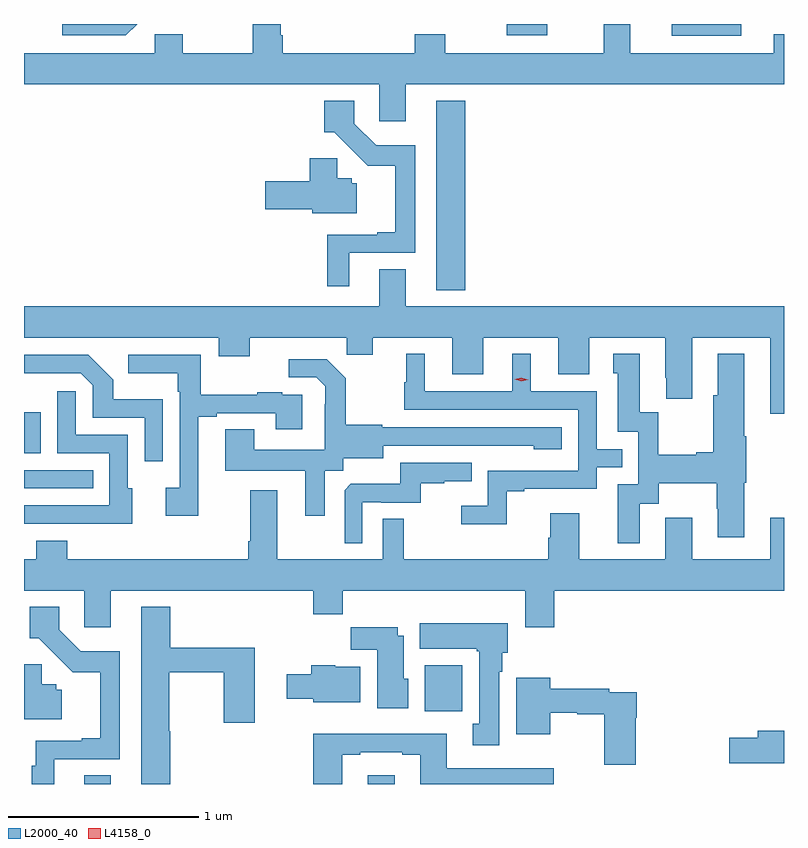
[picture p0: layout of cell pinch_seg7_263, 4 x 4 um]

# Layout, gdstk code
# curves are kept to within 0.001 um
import gdstk
lib = gdstk.Library(unit=1e-6, precision=1e-09)
def R(c, l, rs):  # rectangles x0, y0, x1, y1
    for r in rs: c.add(gdstk.rectangle(r[:2], r[2:], *l))
def P(c, l, *ps):  # polygons
    for p in ps: c.add(gdstk.Polygon(p, *l))
L2000_40 = (2000, 40)
L4158_0 = (4158, 0)

pinch_seg7_263 = lib.new_cell('pinch_seg7_263')
R(pinch_seg7_263, L2000_40, [(732.035,1052.878,732.175,1052.923), (733.529,1052.878,733.669,1052.923), (733.829,1053.26,734.026,1053.502), (731.719,1054.434,732.083,1054.53), (731.719,1054.619,731.806,1054.834), (733.889,1055.477,734.042,1056.475), (735.129,1056.816,735.493,1056.878), (734.259,1056.819,734.473,1056.878)])
P(pinch_seg7_263, L2000_40, [(732.314,1056.878),(731.919,1056.878),(731.919,1056.819),(732.255,1056.819)],
  [(733.729,1056.56),(735.719,1056.56),(735.719,1056.823),(735.665,1056.823),(735.665,1056.724),(734.911,1056.724),(734.911,1056.878),(734.771,1056.878),(734.771,1056.724),(733.935,1056.724),(733.935,1056.823),(733.775,1056.823),(733.775,1056.724),(733.082,1056.724),(733.082,1056.82),(733.069,1056.82),(733.069,1056.878),(732.922,1056.878),(732.922,1056.724),(732.555,1056.724),(732.555,1056.823),(732.408,1056.823),(732.408,1056.724),(731.719,1056.724),(731.719,1056.56),(733.59,1056.56),(733.59,1056.366),(733.729,1056.366)],
  [(733.432,1055.673),(733.777,1055.673),(733.777,1056.24),(733.572,1056.24),(733.458,1056.354),(733.458,1056.475),(733.298,1056.475),(733.298,1056.308),(733.351,1056.308),(733.529,1056.131),(733.673,1056.131),(733.673,1055.782),(733.577,1055.782),(733.577,1055.769),(733.315,1055.769),(733.315,1055.499),(733.432,1055.499)],
  [(733.471,1056.039),(733.443,1056.039),(733.443,1056.066),(733.367,1056.066),(733.367,1056.171),(733.223,1056.171),(733.223,1056.05),(732.99,1056.05),(732.99,1055.903),(733.235,1055.903),(733.235,1055.882),(733.471,1055.882)],
  [(735.719,1055.392),(733.729,1055.392),(733.729,1055.587),(733.589,1055.587),(733.589,1055.392),(731.719,1055.392),(731.719,1055.228),(732.743,1055.228),(732.743,1055.129),(732.907,1055.129),(732.907,1055.228),(733.417,1055.228),(733.417,1055.138),(733.555,1055.138),(733.555,1055.228),(733.973,1055.228),(733.973,1055.034),(734.137,1055.034),(734.137,1055.228),(734.531,1055.228),(734.531,1055.034),(734.695,1055.034),(734.695,1055.228),(735.095,1055.228),(735.095,1055.017),(735.098,1055.017),(735.098,1054.905),(735.235,1054.905),(735.235,1055.228),(735.647,1055.228),(735.647,1054.827),(735.719,1054.827)],
  [(734.959,1054.354),(735.061,1054.354),(735.061,1054.46),(735.364,1054.46),(735.364,1054.326),(735.371,1054.326),(735.371,1054.176),(735.511,1054.176),(735.511,1054.464),(735.519,1054.464),(735.519,1054.708),(735.511,1054.708),(735.511,1055.143),(735.371,1055.143),(735.371,1054.923),(735.346,1054.923),(735.346,1054.625),(735.257,1054.625),(735.257,1054.612),(735.057,1054.612),(735.057,1054.835),(734.959,1054.835),(734.959,1055.143),(734.819,1055.143),(734.819,1055.04),(734.843,1055.04),(734.843,1054.731),(734.952,1054.731),(734.952,1054.455),(734.843,1054.455),(734.843,1054.146),(734.959,1054.146)],
  [(734.259,1054.419),(734.353,1054.419),(734.353,1054.431),(734.733,1054.431),(734.733,1054.545),(734.867,1054.545),(734.867,1054.641),(734.733,1054.641),(734.733,1054.944),(734.386,1054.944),(734.386,1055.143),(734.288,1055.143),(734.288,1054.944),(733.828,1054.944),(733.828,1055.143),(733.73,1055.143),(733.73,1054.992),(733.719,1054.992),(733.719,1054.848),(734.637,1054.848),(734.637,1054.527),(734.16,1054.527),(734.16,1054.342),(734.019,1054.342),(734.019,1054.244),(734.259,1054.244)],
  [(732.637,1054.812),(732.733,1054.812),(732.733,1054.83),(733.043,1054.83),(733.043,1054.746),(733.183,1054.746),(733.183,1054.926),(733.079,1054.926),(733.079,1054.939),(732.947,1054.939),(732.947,1054.928),(732.649,1054.928),(732.649,1055.136),(732.267,1055.136),(732.267,1055.039),(732.528,1055.039),(732.528,1054.943),(732.54,1054.943),(732.54,1054.438),(732.465,1054.438),(732.465,1054.29),(732.637,1054.29)],
  [(732.45,1054.903),(732.189,1054.903),(732.189,1055.006),(732.058,1055.136),(731.719,1055.136),(731.719,1055.039),(732.018,1055.04),(732.081,1054.977),(732.081,1054.806),(732.354,1054.806),(732.354,1054.578),(732.45,1054.578)],
  [(733.303,1054.528),(733.398,1054.528),(733.398,1054.592),(733.609,1054.592),(733.609,1054.659),(734.403,1054.658),(734.403,1054.64),(734.548,1054.64),(734.548,1054.755),(733.605,1054.755),(733.605,1054.768),(733.413,1054.768),(733.413,1055.013),(733.313,1055.113),(733.113,1055.113),(733.113,1055.019),(733.257,1055.019),(733.304,1054.972),(733.304,1054.877),(733.302,1054.877),(733.302,1054.636),(732.931,1054.636),(732.931,1054.745),(732.779,1054.745),(732.779,1054.526),(733.199,1054.526),(733.199,1054.29),(733.303,1054.29)],
  [(732.289,1054.434),(732.264,1054.434),(732.264,1054.716),(731.991,1054.716),(731.991,1054.945),(731.895,1054.945),(731.895,1054.62),(732.168,1054.62),(732.168,1054.344),(731.719,1054.344),(731.719,1054.248),(732.071,1054.248),(732.071,1054.247),(732.289,1054.247)],
  [(733.5,1054.362),(733.6,1054.362),(733.6,1054.359),(733.808,1054.359),(733.808,1054.461),(733.931,1054.461),(733.931,1054.472),(734.075,1054.472),(734.075,1054.569),(733.698,1054.569),(733.698,1054.457),(733.439,1054.457),(733.407,1054.425),(733.407,1054.145),(733.5,1054.145)],
  [(732.175,1053.896),(733.241,1053.896),(733.241,1053.772),(733.397,1053.772),(733.397,1053.896),(734.357,1053.896),(734.357,1053.702),(734.51,1053.702),(734.51,1053.896),(735.719,1053.896),(735.719,1054.279),(735.647,1054.279),(735.647,1054.06),(735.235,1054.06),(735.235,1054.279),(735.095,1054.279),(735.095,1054.06),(734.641,1054.06),(734.641,1054.303),(734.489,1054.303),(734.489,1054.173),(734.477,1054.173),(734.477,1054.06),(733.717,1054.06),(733.717,1054.274),(733.608,1054.274),(733.608,1054.06),(733.051,1054.06),(733.051,1054.423),(732.911,1054.423),(732.911,1054.156),(732.899,1054.156),(732.899,1054.06),(731.947,1054.06),(731.947,1054.159),(731.783,1054.159),(731.783,1054.06),(731.719,1054.06),(731.719,1053.896),(732.036,1053.896),(732.036,1053.702),(732.175,1053.702)],
  [(732.488,1053.156),(732.483,1053.156),(732.483,1053.466),(732.769,1053.466),(732.769,1053.201),(732.934,1053.201),(732.934,1053.595),(732.488,1053.595),(732.488,1053.811),(732.335,1053.811),(732.335,1052.878),(732.488,1052.878)],
  [(731.878,1053.009),(732.223,1053.009),(732.223,1053.576),(732.018,1053.576),(731.904,1053.69),(731.904,1053.811),(731.749,1053.811),(731.749,1053.644),(731.797,1053.644),(731.975,1053.467),(732.119,1053.467),(732.119,1053.118),(732.023,1053.118),(732.023,1053.105),(731.78,1053.105),(731.78,1052.975),(731.761,1052.975),(731.761,1052.878),(731.878,1052.878)],
  [(734.221,1053.47),(734.236,1053.47),(734.236,1053.57),(734.266,1053.57),(734.266,1053.724),(733.802,1053.724),(733.802,1053.59),(734.101,1053.59),(734.101,1053.577),(734.114,1053.577),(734.114,1053.194),(734.081,1053.194),(734.081,1053.081),(734.221,1053.081)],
  [(733.741,1053.432),(733.717,1053.432),(733.717,1053.658),(733.687,1053.658),(733.687,1053.703),(733.438,1053.703),(733.438,1053.584),(733.577,1053.584),(733.577,1053.278),(733.741,1053.278)],
  [(731.917,1053.375),(731.889,1053.375),(731.889,1053.402),(731.813,1053.402),(731.813,1053.507),(731.719,1053.507),(731.719,1053.218),(731.917,1053.218)],
  [(733.489,1053.496),(733.356,1053.496),(733.356,1053.502),(733.231,1053.502),(733.231,1053.456),(733.101,1053.456),(733.101,1053.326),(733.242,1053.326),(733.242,1053.308),(733.489,1053.308)],
  [(734.94,1053.227),(734.945,1053.227),(734.945,1053.36),(734.798,1053.36),(734.798,1053.38),(734.488,1053.38),(734.488,1053.436),(734.309,1053.436),(734.309,1053.14),(734.488,1053.14),(734.488,1053.252),(734.631,1053.252),(734.631,1053.244),(734.774,1053.244),(734.774,1052.979),(734.94,1052.979)],
  [(735.719,1053.158),(735.581,1053.158),(735.581,1053.122),(735.432,1053.122),(735.432,1052.987),(735.719,1052.987)],
  [(733.393,1053.033),(733.489,1053.033),(733.489,1053.045),(733.709,1053.045),(733.709,1053.033),(733.805,1053.033),(733.805,1052.878),(734.506,1052.878),(734.506,1052.961),(733.945,1052.961),(733.945,1053.142),(733.241,1053.142),(733.241,1052.878),(733.393,1052.878)])
P(pinch_seg7_263, L4158_0, [(734.337,1054.997),(734.302,1055.007),(734.301,1055.007),(734.302,1055.008),(734.337,1055.017),(734.373,1055.006),(734.373,1055.006),(734.373,1055.006)])

lib.write_gds('pinch_seg7_263.gds')
